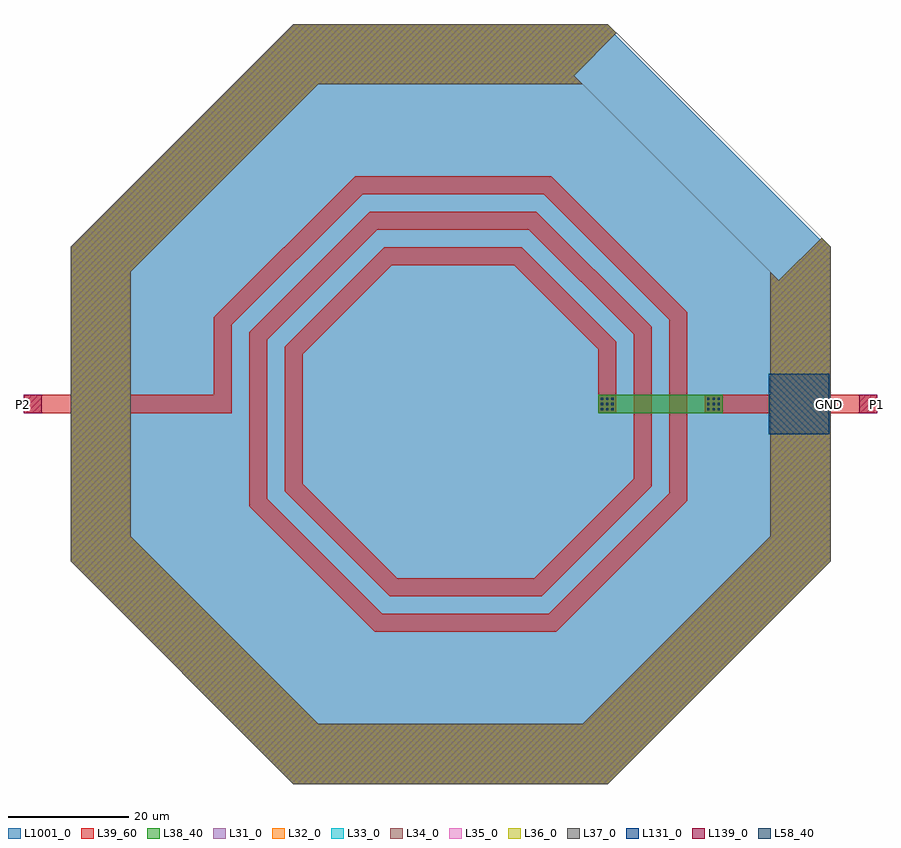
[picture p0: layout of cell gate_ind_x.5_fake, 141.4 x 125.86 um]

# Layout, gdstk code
import gdstk
lib = gdstk.Library(unit=1e-6, precision=1e-09)
def R(c, l, rs):  # rectangles x0, y0, x1, y1
    for r in rs: c.add(gdstk.rectangle(r[:2], r[2:], *l))
def A(c, l, x, y, w, h, nx, ny, dx, dy):  # array of equal rectangles
    R(c, l, [(x+i*dx, y+j*dy, x+i*dx+w, y+j*dy+h) for i in range(nx) for j in range(ny)])
def P(c, l, *ps):  # polygons
    for p in ps: c.add(gdstk.Polygon(p, *l))
L31_0 = (31, 0)
L32_0 = (32, 0)
L33_0 = (33, 0)
L34_0 = (34, 0)
L35_0 = (35, 0)
L36_0 = (36, 0)
L37_0 = (37, 0)
L38_40 = (38, 40)
L39_60 = (39, 60)
L58_40 = (58, 40)
L131_0 = (131, 0)
L139_0 = (139, 0)
L1001_0 = (1001, 0)

gate_ind_x_5_fake = lib.new_cell('gate_ind_x.5_fake')
P(gate_ind_x_5_fake, L31_0, [(54.393,20.459),(61.464,27.53),(26.066,62.929),(-26.066,62.929),(-62.929,26.066),(-62.929,-26.066),(-26.066,-62.929),(26.066,-62.929),(62.929,-26.066),(62.929,26.066),(27.53,61.464),(20.459,54.393),(52.929,21.924),(52.929,-21.924),(21.924,-52.929),(-21.924,-52.929),(-52.929,-21.924),(-52.929,21.924),(-21.924,52.929),(21.924,52.929)])
P(gate_ind_x_5_fake, L32_0, [(54.393,20.459),(61.464,27.53),(26.066,62.929),(-26.066,62.929),(-62.929,26.066),(-62.929,-26.066),(-26.066,-62.929),(26.066,-62.929),(62.929,-26.066),(62.929,26.066),(27.53,61.464),(20.459,54.393),(52.929,21.924),(52.929,-21.924),(21.924,-52.929),(-21.924,-52.929),(-52.929,-21.924),(-52.929,21.924),(-21.924,52.929),(21.924,52.929)])
P(gate_ind_x_5_fake, L33_0, [(54.393,20.459),(61.464,27.53),(26.066,62.929),(-26.066,62.929),(-62.929,26.066),(-62.929,-26.066),(-26.066,-62.929),(26.066,-62.929),(62.929,-26.066),(62.929,26.066),(27.53,61.464),(20.459,54.393),(52.929,21.924),(52.929,-21.924),(21.924,-52.929),(-21.924,-52.929),(-52.929,-21.924),(-52.929,21.924),(-21.924,52.929),(21.924,52.929)])
P(gate_ind_x_5_fake, L34_0, [(54.393,20.459),(61.464,27.53),(26.066,62.929),(-26.066,62.929),(-62.929,26.066),(-62.929,-26.066),(-26.066,-62.929),(26.066,-62.929),(62.929,-26.066),(62.929,26.066),(27.53,61.464),(20.459,54.393),(52.929,21.924),(52.929,-21.924),(21.924,-52.929),(-21.924,-52.929),(-52.929,-21.924),(-52.929,21.924),(-21.924,52.929),(21.924,52.929)])
P(gate_ind_x_5_fake, L35_0, [(54.393,20.459),(61.464,27.53),(26.066,62.929),(-26.066,62.929),(-62.929,26.066),(-62.929,-26.066),(-26.066,-62.929),(26.066,-62.929),(62.929,-26.066),(62.929,26.066),(27.53,61.464),(20.459,54.393),(52.929,21.924),(52.929,-21.924),(21.924,-52.929),(-21.924,-52.929),(-52.929,-21.924),(-52.929,21.924),(-21.924,52.929),(21.924,52.929)])
P(gate_ind_x_5_fake, L36_0, [(54.393,20.459),(61.464,27.53),(26.066,62.929),(-26.066,62.929),(-62.929,26.066),(-62.929,-26.066),(-26.066,-62.929),(26.066,-62.929),(62.929,-26.066),(62.929,26.066),(27.53,61.464),(20.459,54.393),(52.929,21.924),(52.929,-21.924),(21.924,-52.929),(-21.924,-52.929),(-52.929,-21.924),(-52.929,21.924),(-21.924,52.929),(21.924,52.929)])
P(gate_ind_x_5_fake, L37_0, [(54.393,20.459),(61.464,27.53),(26.066,62.929),(-26.066,62.929),(-62.929,26.066),(-62.929,-26.066),(-26.066,-62.929),(26.066,-62.929),(62.929,-26.066),(62.929,26.066),(27.53,61.464),(20.459,54.393),(52.929,21.924),(52.929,-21.924),(21.924,-52.929),(-21.924,-52.929),(-52.929,-21.924),(-52.929,21.924),(-21.924,52.929),(21.924,52.929)])
R(gate_ind_x_5_fake, L38_40, [(24.45,-1.5,45.075,1.5)])
P(gate_ind_x_5_fake, L38_40, [(54.393,20.459),(61.464,27.53),(26.066,62.929),(-26.066,62.929),(-62.929,26.066),(-62.929,-26.066),(-26.066,-62.929),(26.066,-62.929),(62.929,-26.066),(62.929,26.066),(27.53,61.464),(20.459,54.393),(52.929,21.924),(52.929,-21.924),(21.924,-52.929),(-21.924,-52.929),(-52.929,-21.924),(-52.929,21.924),(-21.924,52.929),(21.924,52.929)])
R(gate_ind_x_5_fake, L39_60, [(-70.7,-1.5,-36.2,1.5), (42.075,-1.5,70.7,1.5)])
P(gate_ind_x_5_fake, L39_60, [(24.45,-1.5),(27.45,-1.5),(27.45,10.331),(11.801,25.985),(-10.941,25.985),(-27.45,9.471),(-27.45,-14.486),(-10.081,-31.86),(15.096,-31.86),(33.325,-13.626),(33.325,12.766),(14.236,31.86),(-13.376,31.86),(-33.325,11.906),(-33.325,-16.921),(-12.511,-37.735),(17.526,-37.735),(39.2,-16.061),(39.2,15.201),(16.666,37.735),(-15.806,37.735),(-39.2,14.341),(-39.2,0),(-36.2,0),(-36.2,13.099),(-14.564,34.735),(15.424,34.735),(36.2,13.959),(36.2,-14.819),(16.284,-34.735),(-11.269,-34.735),(-30.325,-15.679),(-30.325,10.664),(-12.134,28.86),(12.994,28.86),(30.325,11.524),(30.325,-12.384),(13.854,-28.86),(-8.839,-28.86),(-24.45,-13.244),(-24.45,8.229),(-9.699,22.985),(10.559,22.985),(24.45,9.089)],
  [(54.393,20.459),(61.464,27.53),(26.066,62.929),(-26.066,62.929),(-62.929,26.066),(-62.929,-26.066),(-26.066,-62.929),(26.066,-62.929),(62.929,-26.066),(62.929,26.066),(27.53,61.464),(20.459,54.393),(52.929,21.924),(52.929,-21.924),(21.924,-52.929),(-21.924,-52.929),(-52.929,-21.924),(-52.929,21.924),(-21.924,52.929),(21.924,52.929)])
A(gate_ind_x_5_fake, L58_40, 24.907, -1.045, 0.35, 0.35, 3, 3, 0.87, 0.87)
A(gate_ind_x_5_fake, L58_40, 42.532, -1.045, 0.35, 0.35, 3, 3, 0.87, 0.87)
R(gate_ind_x_5_fake, L131_0, [(52.7,-5,62.7,5)])
R(gate_ind_x_5_fake, L139_0, [(-70.7,-1.5,-67.7,1.5), (67.7,-1.5,70.7,1.5)])
P(gate_ind_x_5_fake, L1001_0, [(62.548,25.908),(25.908,62.548),(-25.908,62.548),(-62.548,25.908),(-62.548,-25.908),(-25.908,-62.548),(25.908,-62.548),(62.548,-25.908)],
  [(62.548,25.908),(25.908,62.548),(-25.908,62.548),(-62.548,25.908),(-62.548,-25.908),(-25.908,-62.548),(25.908,-62.548),(62.548,-25.908)],
  [(62.548,25.908),(25.908,62.548),(-25.908,62.548),(-62.548,25.908),(-62.548,-25.908),(-25.908,-62.548),(25.908,-62.548),(62.548,-25.908)],
  [(62.548,25.908),(25.908,62.548),(-25.908,62.548),(-62.548,25.908),(-62.548,-25.908),(-25.908,-62.548),(25.908,-62.548),(62.548,-25.908)],
  [(62.548,25.908),(25.908,62.548),(-25.908,62.548),(-62.548,25.908),(-62.548,-25.908),(-25.908,-62.548),(25.908,-62.548),(62.548,-25.908)],
  [(62.548,25.908),(25.908,62.548),(-25.908,62.548),(-62.548,25.908),(-62.548,-25.908),(-25.908,-62.548),(25.908,-62.548),(62.548,-25.908)],
  [(62.548,25.908),(25.908,62.548),(-25.908,62.548),(-62.548,25.908),(-62.548,-25.908),(-25.908,-62.548),(25.908,-62.548),(62.548,-25.908)],
  [(62.548,25.908),(25.908,62.548),(-25.908,62.548),(-62.548,25.908),(-62.548,-25.908),(-25.908,-62.548),(25.908,-62.548),(62.548,-25.908)],
  [(62.548,25.908),(25.908,62.548),(-25.908,62.548),(-62.548,25.908),(-62.548,-25.908),(-25.908,-62.548),(25.908,-62.548),(62.548,-25.908)])
gate_ind_x_5_fake.add(gdstk.Label('P1', (70.702,0), layer=139, texttype=0))
gate_ind_x_5_fake.add(gdstk.Label('P2', (-70.702,0), layer=139, texttype=0))
gate_ind_x_5_fake.add(gdstk.Label('GND', (62.702,0), layer=131, texttype=0))

lib.write_gds('gate_ind_x.5_fake.gds')
